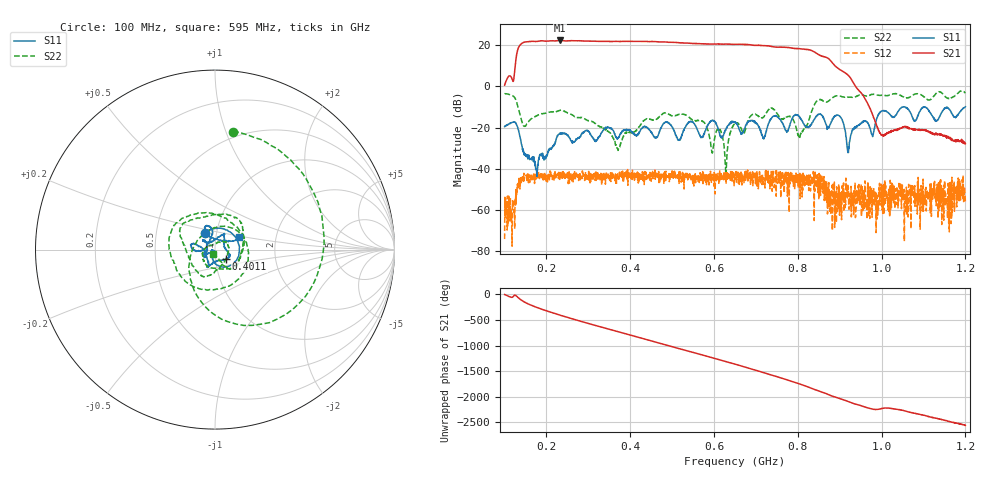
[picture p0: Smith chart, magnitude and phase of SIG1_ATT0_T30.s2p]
# Hz S DB R 50
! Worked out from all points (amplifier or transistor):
!   1601 points, 100 MHz to 1.2 GHz, reference 50 ohm
!   highest |S21| = 22.3 dB at 232 MHz (marker M1)
!   |S21| within 3 dB of that: 134.3 MHz to 739.4 MHz (605.1 MHz wide, 139 % of centre)
!   unconditionally stable (mu >= 1): start of sweep to end of sweep
!   at 282.9 MHz: K = 6.31, MAG = 22.3 dB, |S12| = -44.4 dB
!   at 650 MHz: K = 7.51, MAG = 20.5 dB, |S12| = -44.2 dB
!   at 1.2 GHz: K = 3905.67, MAG = -24.6 dB, |S12| = -56.5 dB
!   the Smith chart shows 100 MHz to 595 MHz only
!   S11 on the Smith chart (normalised r, x): 100 MHz: 0.88, +0.16; 401.1 MHz: 1.13, -0.12; 595 MHz: 1.29, +0.18
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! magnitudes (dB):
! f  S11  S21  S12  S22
! 100 MHz  -19.6  0.6  -74.1  -3.6
! 119.9 MHz  -17.4  2.4  -56.1  -4.6
! 136.4 MHz  -24.2  20.0  -49.8  -13.5
! 175.6 MHz  -40.7  21.8  -42.6  -14.4
! 232 MHz  -22.9  22.3  -43.0  -11.6
! 283.6 MHz  -23.3  22.1  -43.6  -15.1
! 370.2 MHz  -25.2  21.8  -42.4  -30.5
! 401.1 MHz  -21.7  21.9  -42.4  -22.3
! 467.1 MHz  -23.4  21.7  -43.2  -15.1
! 571.6 MHz  -24.8  20.7  -45.8  -16.9
! 595 MHz  -16.5  20.6  -44.6  -31.9
! 612.2 MHz  -22.3  20.5  -43.6  -20.9
! 628.7 MHz  -20.4  20.5  -47.4  -45.3
! 650 MHz  -17.6  20.4  -44.2  -18.1
! 718.1 MHz  -25.4  19.8  -45.1  -14.9
! 737.3 MHz  -15.4  19.4  -40.6  -10.6
! 804 MHz  -14.8  18.3  -46.9  -24.2
! 833.6 MHz  -17.8  17.4  -47.2  -11.8
! 898.2 MHz  -14.2  8.5  -56.4  -4.6
! 920.2 MHz  -31.8  5.4  -48.6  -5.3
! 1.017 GHz  -13.0  -22.2  -49.4  -4.3
! 1.2 GHz  -9.9  -27.8  -56.5  -3.3
